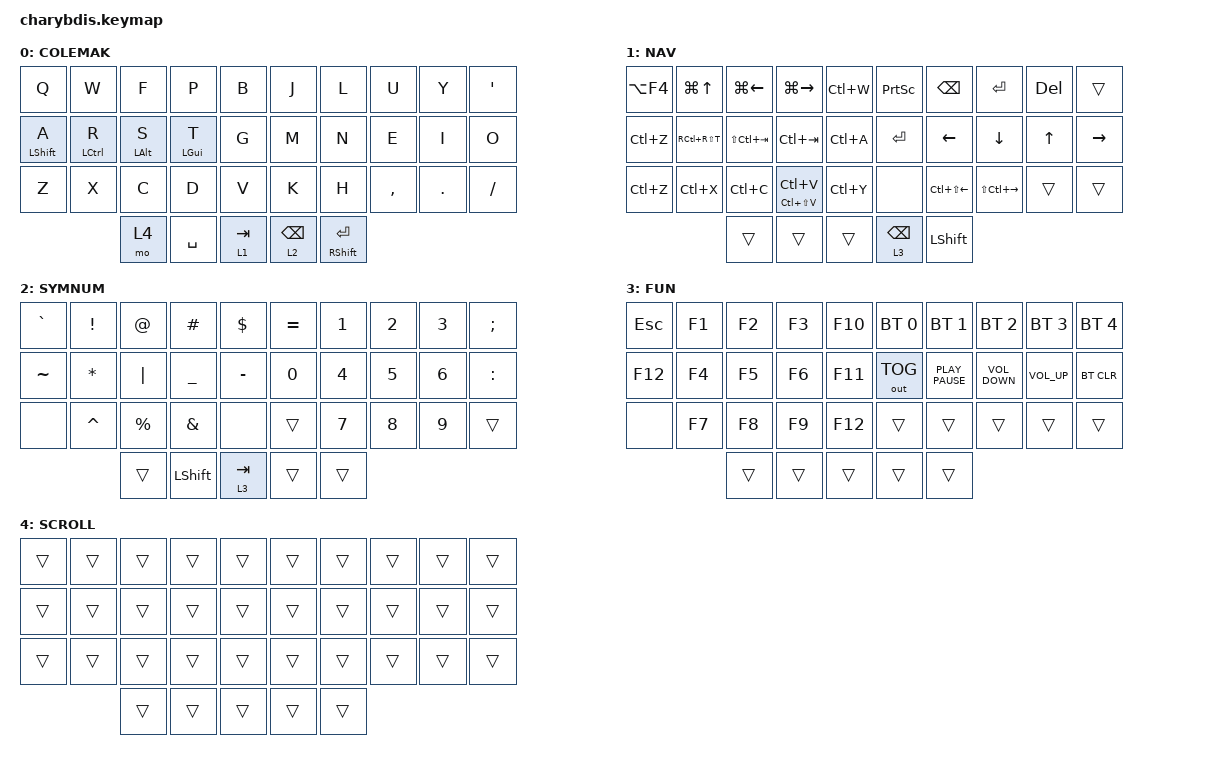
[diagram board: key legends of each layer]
#include <dt-bindings/zmk/mouse.h>
#include <behaviors.dtsi>
#include <dt-bindings/zmk/bt.h>
#include <dt-bindings/zmk/keys.h>
#include <dt-bindings/zmk/outputs.h>
//#include <dt-bindings/zmk/pointing.h>

&lt {
    tapping-term-ms = <240>;
    flavor = "tap-preferred";
    quick-tap-ms = <150>;
    require-prior-idle-ms = <10>;
};

&mt {
    tapping-term-ms = <250>;
    flavor = "tap-preferred";
    require-prior-idle-ms = <250>;
};

/ {
    chosen { zmk,matrix_transform = &five_column_transform; };
};

/ {
    combos {
        compatible = "zmk,combos";

        LeftClickRight {
            bindings = <&mkp LCLK>;
            key-positions = <16 17>;
        };

        RightClickRight {
            bindings = <&mkp RCLK>;
            key-positions = <17 18>;
        };

        ParaLeft {
            bindings = <&kp LEFT_PARENTHESIS>;
            key-positions = <3 13>;
        };

        ParaRight {
            bindings = <&kp RIGHT_PARENTHESIS>;
            key-positions = <6 16>;
        };

        BrakLeft {
            bindings = <&kp LEFT_BRACKET>;
            key-positions = <2 12>;
        };

        BrakRight {
            bindings = <&kp RIGHT_BRACKET>;
            key-positions = <7 17>;
        };

        BraceLeft {
            bindings = <&kp LEFT_BRACE>;
            key-positions = <1 11>;
        };

        BraceRight {
            bindings = <&kp RIGHT_BRACE>;
            key-positions = <8 18>;
        };

        Delete {
            bindings = <&kp DELETE>;
            key-positions = <7 8>;
        };

        CapsWord {
            bindings = <&caps_word>;
            key-positions = <14 15>;
        };
    };

    behaviors {
        Shift_Enter: Shift_Enter {
            compatible = "zmk,behavior-hold-tap";
            label = "SHIFT_ENTER";
            bindings = <&kp>, <&kp>;

            #binding-cells = <2>;
            hold-trigger-key-positions = <34>;
            tapping-term-ms = <100>;
        };
    };

    keymap {
        compatible = "zmk,keymap";

        COLEMAK {
            bindings = <
  &kp Q             &kp W               &kp F           &kp P           &kp B        &kp J            &kp L                           &kp U      &kp Y    &kp APOS
  &mt LEFT_SHIFT A  &mt LEFT_CONTROL R  &mt LEFT_ALT S  &mt LEFT_GUI T  &kp G        &kp M            &kp N                           &kp E      &kp I    &kp O
  &kp Z             &kp X               &kp C           &kp D           &kp V        &kp K            &kp H                           &kp COMMA  &kp DOT  &kp SLASH
                                        &mo 4           &kp SPACE       &lt 1 TAB    &lt 2 BACKSPACE  &Shift_Enter RIGHT_SHIFT ENTER
            >;
        };

        NAV {
            bindings = <
  &kp LA(F4)  &kp LG(UP_ARROW)  &kp LG(LEFT)     &kp LG(RIGHT)        &kp LC(W)    &kp PRINTSCREEN  &kp BACKSPACE     &kp ENTER          &kp DELETE    &trans
  &kp LC(Z)   &kp RC(RS(T))     &kp LS(LC(TAB))  &kp LC(TAB)          &kp LC(A)    &kp ENTER        &kp LEFT          &kp DOWN           &kp UP_ARROW  &kp RIGHT
  &kp LC(Z)   &kp LC(X)         &kp LC(C)        &mt LC(LS(V)) LC(V)  &kp LC(Y)    &none            &kp LC(LS(LEFT))  &kp LS(LC(RIGHT))  &trans        &trans
                                &trans           &trans               &trans       &lt 3 BACKSPACE  &kp LSHFT
            >;
        };

        SYMNUM {
            bindings = <
  &kp GRAVE  &kp EXCL   &kp AT       &kp POUND       &kp DOLLAR    &kp EQUAL  &kp N1  &kp N2  &kp N3  &kp SEMI
  &kp TILDE  &kp STAR   &kp PIPE     &kp UNDER       &kp MINUS     &kp N0     &kp N4  &kp N5  &kp N6  &kp COLON
  &none      &kp CARET  &kp PERCENT  &kp AMPERSAND   &none         &trans     &kp N7  &kp N8  &kp N9  &trans
                        &trans       &kp LEFT_SHIFT  &lt 3 TAB     &trans     &trans
            >;
        };

        FUN {
            bindings = <
  &kp ESC  &kp F1  &kp F2  &kp F3  &kp F10    &bt BT_SEL 0  &bt BT_SEL 1      &bt BT_SEL 2       &bt BT_SEL 3     &bt BT_SEL 4
  &kp F12  &kp F4  &kp F5  &kp F6  &kp F11    &out OUT_TOG  &kp K_PLAY_PAUSE  &kp C_VOLUME_DOWN  &kp C_VOLUME_UP  &bt BT_CLR
  &none    &kp F7  &kp F8  &kp F9  &kp F12    &trans        &trans            &trans             &trans           &trans
                   &trans  &trans  &trans     &trans        &trans
            >;
        };

        SCROLL {
            bindings = <
  &trans  &trans  &trans  &trans  &trans    &trans  &trans  &trans  &trans  &trans
  &trans  &trans  &trans  &trans  &trans    &trans  &trans  &trans  &trans  &trans
  &trans  &trans  &trans  &trans  &trans    &trans  &trans  &trans  &trans  &trans
                  &trans  &trans  &trans    &trans  &trans
            >;
        };
    };
};
